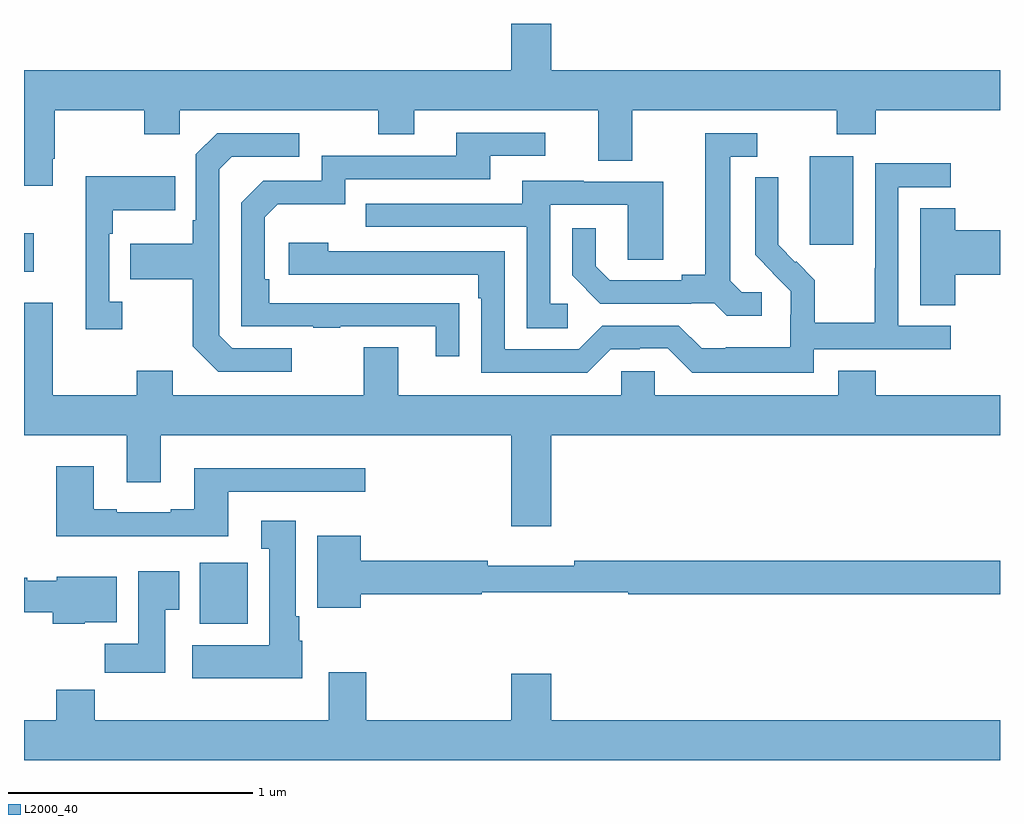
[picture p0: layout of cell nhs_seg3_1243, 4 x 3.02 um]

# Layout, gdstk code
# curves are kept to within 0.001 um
import gdstk
lib = gdstk.Library(unit=1e-6, precision=1e-09)
def R(c, l, rs):  # rectangles x0, y0, x1, y1
    for r in rs: c.add(gdstk.rectangle(r[:2], r[2:], *l))
def P(c, l, *ps):  # polygons
    for p in ps: c.add(gdstk.Polygon(p, *l))
L2000_40 = (2000, 40)

nhs_seg3_1243 = lib.new_cell('nhs_seg3_1243')
R(nhs_seg3_1243, L2000_40, [(175.721,721.454,175.917,721.705), (175,722.897,175.039,723.055), (178.22,723.009,178.399,723.37)])
P(nhs_seg3_1243, L2000_40, [(175.117,723.361),(175.125,723.361),(175.125,723.56),(175.492,723.56),(175.492,723.461),(175.638,723.461),(175.638,723.56),(176.452,723.56),(176.452,723.461),(176.599,723.461),(176.599,723.56),(177.353,723.56),(177.353,723.352),(177.493,723.352),(177.493,723.56),(178.33,723.56),(178.33,723.461),(178.49,723.461),(178.49,723.56),(179,723.56),(179,723.724),(177.16,723.724),(177.16,723.913),(176.996,723.913),(176.996,723.724),(175,723.724),(175,723.249),(175.117,723.249)],
  [(176.783,722.768),(176.006,722.769),(176.006,722.866),(175.986,722.866),(175.986,723.12),(176.039,723.173),(176.316,723.173),(176.316,723.276),(176.911,723.276),(176.911,723.372),(177.136,723.372),(177.136,723.468),(176.771,723.468),(176.771,723.372),(176.22,723.372),(176.22,723.27),(175.98,723.27),(175.89,723.18),(175.89,722.673),(176.185,722.673),(176.185,722.668),(176.297,722.668),(176.297,722.673),(176.687,722.673),(176.687,722.55),(176.783,722.55)],
  [(178.024,722.814),(177.942,722.814),(177.895,722.861),(177.895,723.369),(178.006,723.369),(178.006,723.465),(177.791,723.465),(177.791,722.885),(177.695,722.885),(177.695,722.862),(177.4,722.862),(177.343,722.919),(177.343,723.076),(177.246,723.076),(177.246,722.882),(177.362,722.766),(177.734,722.766),(177.734,722.769),(177.828,722.769),(177.88,722.717),(178.024,722.717)],
  [(176.098,722.583),(175.854,722.583),(175.8,722.637),(175.8,723.318),(175.851,723.369),(176.128,723.369),(176.128,723.465),(175.791,723.465),(175.704,723.378),(175.704,723.109),(175.692,723.109),(175.692,723.013),(175.435,723.013),(175.435,722.866),(175.692,722.866),(175.692,722.593),(175.797,722.487),(176.098,722.487)],
  [(178.236,722.58),(178.798,722.58),(178.798,722.676),(178.584,722.676),(178.584,723.243),(178.798,723.243),(178.798,723.342),(178.488,723.342),(178.488,722.912),(178.486,722.912),(178.486,722.689),(178.241,722.689),(178.241,722.863),(178.164,722.94),(178.161,722.937),(178.091,723.008),(178.092,723.284),(177.996,723.284),(177.996,722.966),(178.142,722.818),(178.142,722.721),(178.14,722.721),(178.14,722.587),(177.877,722.587),(177.877,722.583),(177.777,722.583),(177.684,722.676),(177.369,722.676),(177.273,722.58),(176.97,722.58),(176.97,722.982),(176.246,722.982),(176.246,723.016),(176.085,723.016),(176.085,722.886),(176.861,722.886),(176.861,722.789),(176.874,722.789),(176.874,722.484),(177.309,722.484),(177.405,722.58),(177.524,722.58),(177.524,722.583),(177.639,722.583),(177.739,722.483),(178.236,722.483)],
  [(175.402,722.774),(175.35,722.774),(175.35,723.053),(175.363,723.053),(175.363,723.149),(175.619,723.149),(175.619,723.289),(175.253,723.289),(175.253,722.661),(175.402,722.661)],
  [(177.229,722.766),(177.156,722.766),(177.156,723.171),(177.474,723.171),(177.474,722.947),(177.619,722.947),(177.619,723.267),(177.295,723.267),(177.295,723.271),(177.041,723.271),(177.041,723.177),(176.401,723.177),(176.401,723.081),(177.06,723.081),(177.06,722.665),(177.229,722.665)],
  [(178.817,722.885),(179,722.885),(179,723.068),(178.817,723.068),(178.817,723.158),(178.673,723.158),(178.673,722.761),(178.817,722.761)],
  [(175.117,722.77),(175,722.77),(175,722.228),(175.421,722.228),(175.421,722.034),(175.561,722.034),(175.561,722.228),(176.996,722.228),(176.996,721.854),(177.16,721.854),(177.16,722.228),(179,722.228),(179,722.392),(178.49,722.392),(178.49,722.491),(178.337,722.491),(178.337,722.392),(177.585,722.392),(177.585,722.49),(177.447,722.49),(177.447,722.392),(176.533,722.392),(176.533,722.587),(176.393,722.587),(176.393,722.392),(175.609,722.392),(175.609,722.491),(175.462,722.491),(175.462,722.392),(175.117,722.392)],
  [(175.837,721.995),(176.398,721.995),(176.398,722.092),(175.697,722.092),(175.697,721.924),(175.601,721.924),(175.601,721.911),(175.381,721.911),(175.381,721.924),(175.285,721.924),(175.285,722.101),(175.133,722.101),(175.133,721.814),(175.837,721.814)],
  [(176.14,721.386),(176.128,721.386),(176.128,721.486),(176.113,721.486),(176.113,721.876),(175.973,721.876),(175.973,721.763),(176.006,721.763),(176.006,721.366),(175.689,721.366),(175.689,721.232),(176.14,721.232)],
  [(176.38,721.576),(176.876,721.576),(176.876,721.584),(177.476,721.584),(177.476,721.576),(179,721.576),(179,721.712),(177.256,721.712),(177.256,721.693),(176.9,721.693),(176.9,721.712),(176.38,721.712),(176.38,721.816),(176.201,721.816),(176.201,721.52),(176.38,721.52)],
  [(175.579,721.513),(175.636,721.513),(175.636,721.669),(175.469,721.669),(175.469,721.372),(175.33,721.372),(175.33,721.254),(175.579,721.254)],
  [(175.248,721.46),(175.381,721.46),(175.381,721.648),(175.134,721.648),(175.134,721.63),(175.014,721.63),(175.014,721.643),(175,721.643),(175,721.501),(175.118,721.501),(175.118,721.454),(175.248,721.454)],
  [(179,721.06),(177.16,721.06),(177.16,721.249),(176.996,721.249),(176.996,721.06),(176.402,721.06),(176.402,721.255),(176.249,721.255),(176.249,721.06),(175.289,721.06),(175.289,721.184),(175.133,721.184),(175.133,721.06),(175,721.06),(175,720.896),(179,720.896)])

lib.write_gds('nhs_seg3_1243.gds')
